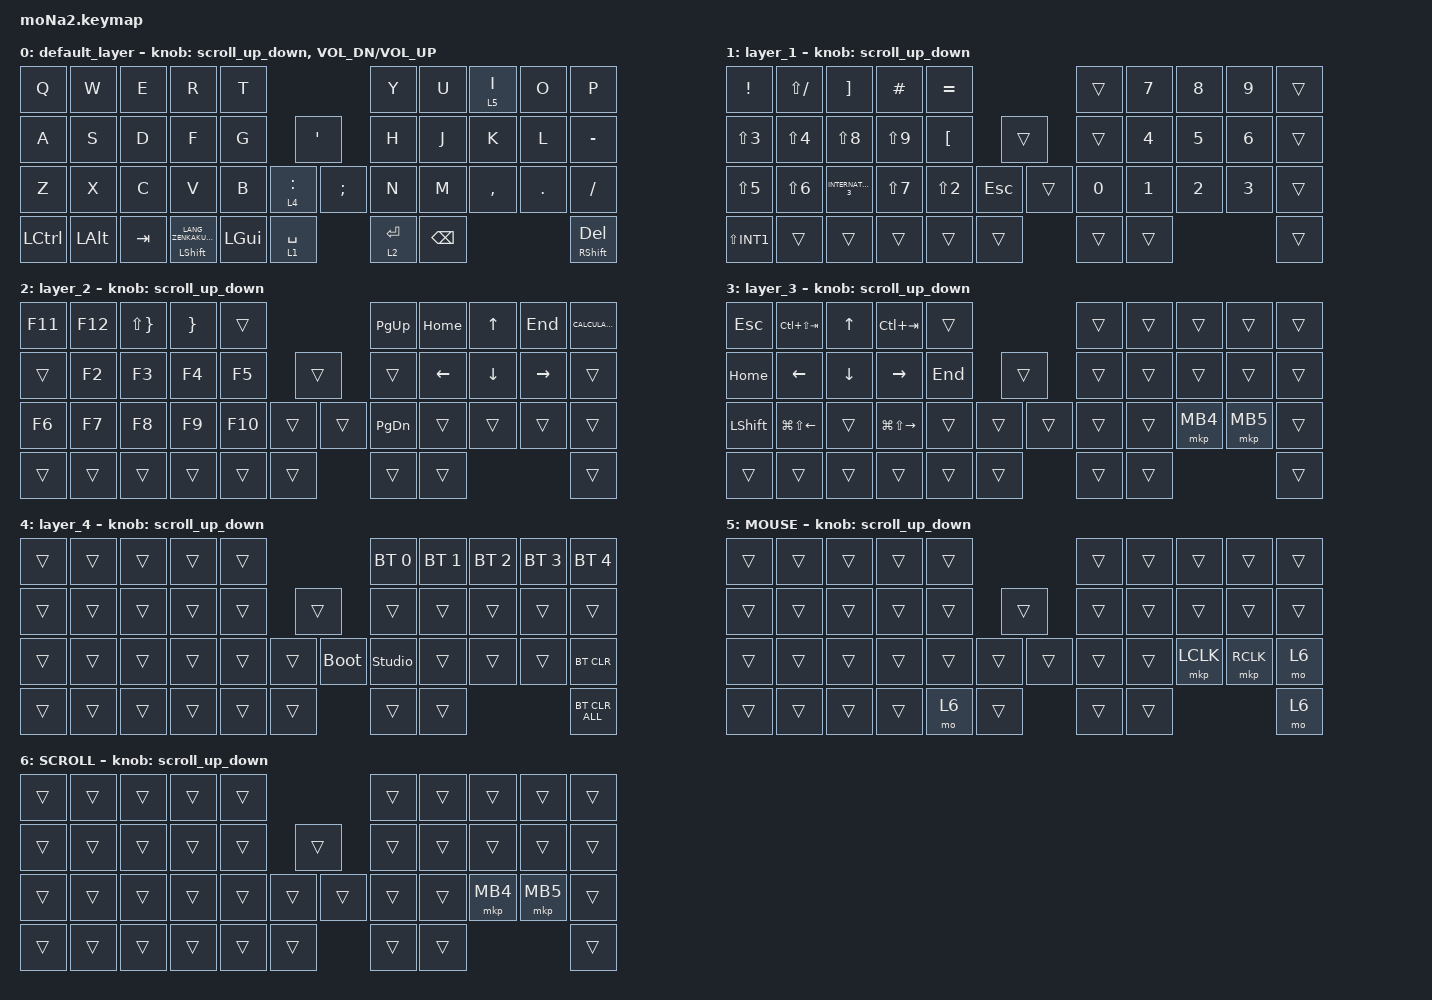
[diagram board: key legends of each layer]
#include <input/processors.dtsi>
#include <behaviors.dtsi>
#include <dt-bindings/zmk/bt.h>
#include <dt-bindings/zmk/keys.h>
#include <dt-bindings/zmk/pointing.h>

#define ZMK_POINTING_DEFAULT_SCRL_VAL 100
#define MOUSE 5
#define SCROLL 6

&mt {
    flavor = "balanced";
    quick-tap-ms = <0>;
};

/ {
    combos { compatible = "zmk,combos"; };

    macros {
        to_layer_0: to_layer_0 {
            compatible = "zmk,behavior-macro-one-param";
            #binding-cells = <1>;
            bindings = <&to 0 &macro_param_1to1 &kp MACRO_PLACEHOLDER>;
            label = "TO_LAYER_0";
        };
    };

    behaviors {
        lt_to_layer_0: lt_to_layer_0 {
            compatible = "zmk,behavior-hold-tap";
            label = "LAYER_TAP_TO_0";
            bindings = <&mo>, <&to_layer_0>;

            #binding-cells = <2>;
            tapping-term-ms = <200>;
        };

        scroll_up_down: behavior_sensor_rotate_mouse_wheel_up_down {
            compatible = "zmk,behavior-sensor-rotate";
            #sensor-binding-cells = <0>;
            bindings = <&msc SCRL_UP>, <&msc SCRL_DOWN>;

            tap-ms = <20>;
        };
    };

    keymap {
        compatible = "zmk,keymap";

        default_layer {
            bindings = <
&kp Q      &kp W         &kp E    &kp R                               &kp T                                          &kp Y          &kp U  &lt 5 I    &kp O    &kp P
&kp A      &kp S         &kp D    &kp F                               &kp G                        &kp SINGLE_QUOTE  &kp H          &kp J  &kp K      &kp L    &kp MINUS
&kp Z      &kp X         &kp C    &kp V                               &kp B         &lt 4 COLON    &kp SEMICOLON     &kp N          &kp M  &kp COMMA  &kp DOT  &kp SLASH
&kp LCTRL  &kp LEFT_ALT  &kp TAB  &mt LEFT_SHIFT LANG_ZENKAKUHANKAKU  &kp LEFT_GUI  &lt 1 SPACE    &lt 2 ENTER       &kp BACKSPACE                             &mt RIGHT_SHIFT DELETE
            >;

            sensor-bindings =
                <&scroll_up_down>,
                <&inc_dec_kp C_VOL_DN C_VOL_UP>;
        };

        layer_1 {
            bindings = <
&kp EXCL          &kp LS(SLASH)     &kp RIGHT_BRACKET    &kp HASH          &kp EQUAL                               &trans        &kp NUMBER_7  &kp NUMBER_8  &kp NUMBER_9  &trans
&kp LS(NUMBER_3)  &kp LS(NUMBER_4)  &kp LS(NUMBER_8)     &kp LS(NUMBER_9)  &kp LEFT_BRACKET                &trans  &trans        &kp NUMBER_4  &kp NUMBER_5  &kp NUMBER_6  &trans
&kp LS(N5)        &kp LS(NUMBER_6)  &kp INTERNATIONAL_3  &kp LS(N7)        &kp LS(N2)        &kp ESCAPE    &trans  &kp NUMBER_0  &kp NUMBER_1  &kp NUMBER_2  &kp NUMBER_3  &trans
&kp LS(INT1)      &trans            &trans               &trans            &trans            &trans        &trans  &trans                                                  &trans
            >;

            sensor-bindings = <&scroll_up_down>;
        };

        layer_2 {
            bindings = <
&kp F11  &kp F12  &kp LS(RIGHT_BRACE)  &kp RIGHT_BRACE  &trans                     &kp PG_UP      &kp HOME        &kp UP_ARROW    &kp END          &kp K_CALCULATOR
&trans   &kp F2   &kp F3               &kp F4           &kp F5             &trans  &trans         &kp LEFT_ARROW  &kp DOWN_ARROW  &kp RIGHT_ARROW  &trans
&kp F6   &kp F7   &kp F8               &kp F9           &kp F10  &trans    &trans  &kp PAGE_DOWN  &trans          &trans          &trans           &trans
&trans   &trans   &trans               &trans           &trans   &trans    &trans  &trans                                                          &trans
            >;

            sensor-bindings = <&scroll_up_down>;
        };

        layer_3 {
            bindings = <
&kp ESCAPE      &kp LC(LS(TAB))         &kp UP_ARROW    &kp LC(TAB)              &trans                     &trans  &trans  &trans    &trans    &trans
&kp HOME        &kp LEFT_ARROW          &kp DOWN_ARROW  &kp RIGHT_ARROW          &kp END            &trans  &trans  &trans  &trans    &trans    &trans
&kp LEFT_SHIFT  &kp LG(LS(LEFT_ARROW))  &trans          &kp LG(LS(RIGHT_ARROW))  &trans   &trans    &trans  &trans  &trans  &mkp MB4  &mkp MB5  &trans
&trans          &trans                  &trans          &trans                   &trans   &trans    &trans  &trans                              &trans
            >;

            sensor-bindings = <&scroll_up_down>;
        };

        layer_4 {
            bindings = <
&trans  &trans  &trans  &trans  &trans                         &bt BT_SEL 0  &bt BT_SEL 1  &bt BT_SEL 2  &bt BT_SEL 3  &bt BT_SEL 4
&trans  &trans  &trans  &trans  &trans            &trans       &trans        &trans        &trans        &trans        &trans
&trans  &trans  &trans  &trans  &trans  &trans    &bootloader  &studio_unlock  &trans        &trans        &trans        &bt BT_CLR
&trans  &trans  &trans  &trans  &trans  &trans    &trans       &trans                                                  &bt BT_CLR_ALL
            >;

            sensor-bindings = <&scroll_up_down>;
        };

        MOUSE {
            bindings = <
&trans  &trans  &trans  &trans  &trans                    &trans  &trans  &trans     &trans     &trans
&trans  &trans  &trans  &trans  &trans            &trans  &trans  &trans  &trans     &trans     &trans
&trans  &trans  &trans  &trans  &trans  &trans    &trans  &trans  &trans  &mkp LCLK  &mkp RCLK  &mo 6
&trans  &trans  &trans  &trans  &mo 6   &trans    &trans  &trans                                &mo 6
            >;

            sensor-bindings = <&scroll_up_down>;
        };

        SCROLL {
            bindings = <
&trans  &trans  &trans  &trans  &trans                    &trans  &trans  &trans    &trans    &trans
&trans  &trans  &trans  &trans  &trans            &trans  &trans  &trans  &trans    &trans    &trans
&trans  &trans  &trans  &trans  &trans  &trans    &trans  &trans  &trans  &mkp MB4  &mkp MB5  &trans
&trans  &trans  &trans  &trans  &trans  &trans    &trans  &trans                              &trans
            >;

            sensor-bindings = <&scroll_up_down>;
        };
    };
};
